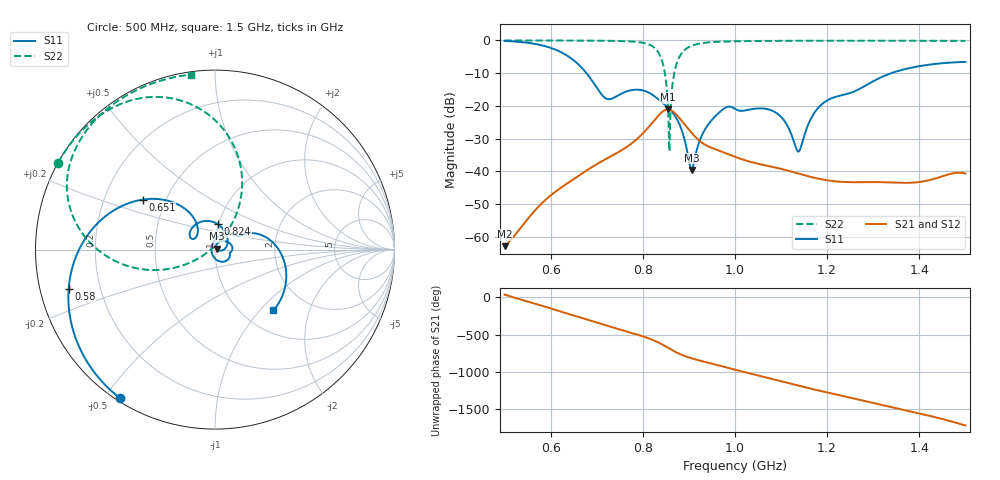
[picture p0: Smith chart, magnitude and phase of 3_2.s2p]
! TOUCHSTONE file generated by CST MICROWAVE STUDIO
! Date and time: Fri Oct  2 16:32:55 2020
! Project name: Scenario_1_Free_Space_out_of_line.cst
! Parameters = {Lambda=346.42; Step_1=17.321; dy1=312.958; dx1=346; L_HA=400; MT=2.54; Rad_Dielectric=30; Rad_Lower=7.3; Rad_Upper=30; a_HA=580; a_WG=246; b_HA=500; b_WG=121; c_HA=0; c_WG=187; d_feed=85; h_feed=15; h_lower=18; h_upper=40}
! Header version: 2018
! Port assignment regex: !\s*Touchstone port\s*([0-9]+)\s*=\s*(CST MWS port|CST DS port)\s*([0-9]+|Zmin|Zmax)\s*\(\"(.*)\"\)(\s*mode\s*([0-9]+))?.*
! Touchstone port assignment:
! Touchstone port 1 = CST MWS port 1 ("")
! Touchstone port 2 = CST MWS port 2 ("")
# GHz S DB R 50
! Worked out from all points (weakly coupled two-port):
!   1003 points, 500 MHz to 1.5 GHz, reference 50 ohm
!   highest |S21| = -21.12 dB at 854 MHz (marker M1); lowest = -62.9 dB at 500 MHz (marker M2)
!   lowest |S11| = -39.6 dB at 906 MHz (marker M3), VSWR 1.02, Z = 50.9 + j0.597 ohm
!   |S11| at or under -10 dB: 677.6 MHz to 1.339 GHz (661.8 MHz wide, 65.6 % of centre)
!   |S22| runs from -33.9 to 0.0 dB; largest |S21 - S12| = 3e-05
!   S11 on the Smith chart (normalised r, x): 500 MHz: 0.01, -0.55; 580 MHz: 0.09, -0.13; 651 MHz: 0.37, +0.27; 824 MHz: 0.99, +0.29; 1.5 GHz: 1.37, -1.19
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0.5  -0.15 -122.7  -62.91 39.6  -62.91 39.6  -0.01 151.1
0.58  -1.47 -165.0  -49.91 -109.0  -49.91 -109.0  -0.02 145.6
0.651  -6.20 145.3  -42.28 115.7  -42.28 115.7  -0.03 139.8
0.667  -8.29 134.6  -40.77 85.4  -40.77 85.4  -0.04 138.3
0.722  -17.87 141.2  -36.08 -19.3  -36.08 -19.3  -0.11 131.9
0.785  -15.05 131.2  -30.43 -133.5  -30.43 -133.5  -0.44 118.6
0.824  -16.94 83.4  -24.59 142.8  -24.59 142.8  -2.11 95.7
0.834  -18.04 70.4  -22.95 114.7  -22.95 114.7  -3.75 84.2
0.847  -19.58 53.4  -21.38 71.6  -21.38 71.6  -9.35 64.4
0.854  -20.46 43.6  -21.12 46.3  -21.12 46.3  -18.48 55.8
0.86  -21.31 34.5  -21.29 24.6  -21.29 24.6  -21.94 -153.3
0.867  -22.51 23.1  -21.92 0.4  -21.92 0.4  -10.83 -157.8
0.876  -24.61 8.0  -23.18 -27.7  -23.18 -27.7  -6.06 -169.5
0.906  -39.61 34.1  -28.28 -98.5  -28.28 -98.5  -1.62 165.1
0.943  -25.49 56.5  -32.47 -157.8  -32.47 -157.8  -0.60 150.7
1  -20.94 -8.1  -35.57 108.9  -35.57 108.9  -0.27 140.2
1.089  -22.10 -59.8  -38.90 -29.8  -38.90 -29.8  -0.13 130.6
1.137  -33.99 -175.9  -40.67 -105.3  -40.67 -105.3  -0.10 126.5
1.167  -23.35 80.2  -41.82 -150.1  -41.82 -150.1  -0.09 124.1
1.201  -18.26 46.2  -42.79 161.5  -42.79 161.5  -0.09 121.5
1.334  -10.28 10.9  -43.41 -27.4  -43.41 -27.4  -0.09 111.4
1.5  -6.56 -46.1  -40.68 79.2  -40.69 79.0  -0.14 97.8
